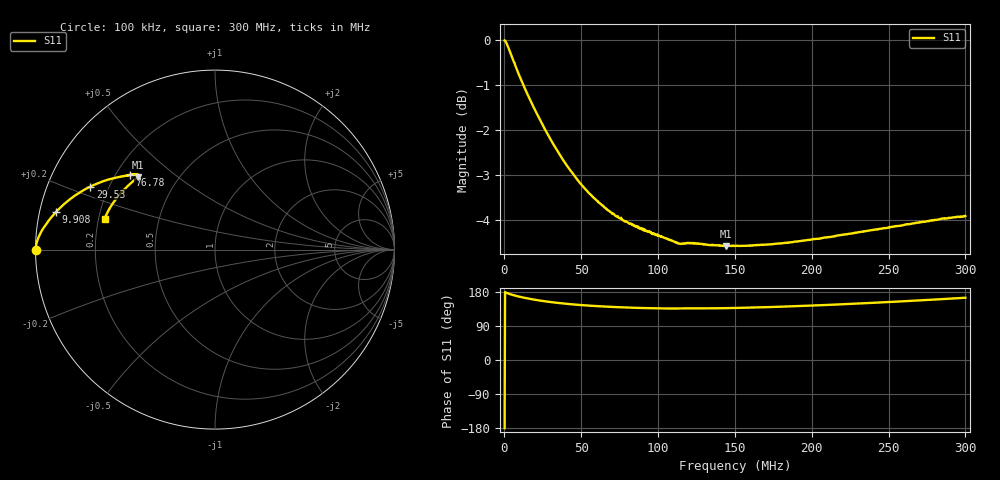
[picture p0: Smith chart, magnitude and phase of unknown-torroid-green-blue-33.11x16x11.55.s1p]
# HZ S RI R 50
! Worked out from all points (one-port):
!   1010 points, 100 kHz to 300 MHz, reference 50 ohm
!   lowest |S11| = -4.6 dB at 144.3 MHz (marker M1), VSWR 3.89, Z = 14.7 + j18.3 ohm
!   |S11| at or under -10 dB: nowhere
!   S11 on the Smith chart (normalised r, x): 100 kHz: 0.00, -0.00; 9.908 MHz: 0.05, +0.12; 29.53 MHz: 0.13, +0.23; 76.78 MHz: 0.26, +0.35; 300 MHz: 0.22, +0.13
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100000  -0.9994 -0.00473
991600  -0.9946 0.0344
1883300  -0.9855 0.0623
3072200  -0.9713 0.0928
4261100  -0.9566 0.1189
6936100  -0.9232 0.166
9908400  -0.8875 0.208
1.37723e7  -0.8437 0.2507
1.85279e7  -0.7943 0.291
2.3878e7  -0.7431 0.3251
2.95252e7  -0.6952 0.3508
3.784752e7  -0.6345 0.3766
4.646702e7  -0.584 0.393
5.568102e7  -0.5414 0.403
6.608395e7  -0.5049 0.4104
7.529785e7  -0.4797 0.4151
7.678405e7  -0.4757 0.4154
9.194248e7  -0.4488 0.4196
1.047231e8  -0.4337 0.4187
1.127482e8  -0.4283 0.414
1.442541e8  -0.4312 0.4038
1.501986e8  -0.4345 0.4007
1.701126e8  -0.45 0.3865
1.87649e8  -0.4689 0.3696
2.250993e8  -0.5177 0.3225
2.625496e8  -0.5694 0.2574
2.836525e8  -0.5966 0.2124
2.999999e8  -0.6143 0.1729
